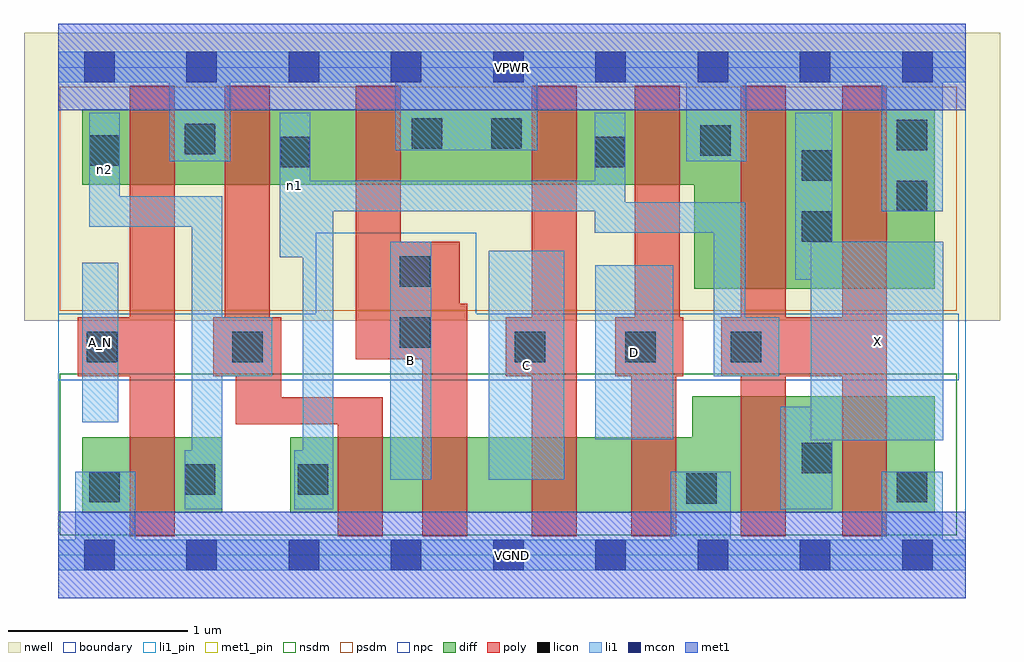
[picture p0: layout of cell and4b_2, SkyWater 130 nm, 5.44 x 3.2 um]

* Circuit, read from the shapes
.subckt and4b_2 A_N B C D VGND VPWR X n1 n2
XM1 n2 A_N VGND VSUBS sky130_fd_pr__nfet_01v8 w=0.42 l=0.25
XM2 n3 n2 n1 VSUBS sky130_fd_pr__nfet_01v8 w=0.42 l=0.25
XM3 n4 B n3 VSUBS sky130_fd_pr__nfet_01v8 w=0.42 l=0.25
XM4 n5 C n4 VSUBS sky130_fd_pr__nfet_01v8 w=0.42 l=0.25
XM5 VGND D n5 VSUBS sky130_fd_pr__nfet_01v8 w=0.42 l=0.25
XM6 X n1 VGND VSUBS sky130_fd_pr__nfet_01v8 w=0.65 l=0.25 m=2
XM7 VPWR A_N n2 n6 sky130_fd_pr__pfet_01v8 w=0.42 l=0.25
XM8 n1 n2 VPWR n6 sky130_fd_pr__pfet_01v8 w=0.42 l=0.25
XM9 VPWR B n1 n6 sky130_fd_pr__pfet_01v8 w=0.42 l=0.25
XM10 n1 C VPWR n6 sky130_fd_pr__pfet_01v8 w=0.42 l=0.25
XM11 VPWR D n1 n6 sky130_fd_pr__pfet_01v8 w=0.42 l=0.25
XM12 X n1 VPWR n6 sky130_fd_pr__pfet_01v8 w=1 l=0.25 m=2
.ends

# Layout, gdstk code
import gdstk
lib = gdstk.Library(unit=1e-6, precision=1e-09)
def R(c, l, rs):  # rectangles x0, y0, x1, y1
    for r in rs: c.add(gdstk.rectangle(r[:2], r[2:], *l))
def A(c, l, x, y, w, h, nx, ny, dx, dy):  # array of equal rectangles
    R(c, l, [(x+i*dx, y+j*dy, x+i*dx+w, y+j*dy+h) for i in range(nx) for j in range(ny)])
nwell = (64, 20)
diff = (65, 20)
poly = (66, 20)
licon = (66, 44)
li1_pin = (67, 16)
li1 = (67, 20)
mcon = (67, 44)
met1_pin = (68, 16)
met1 = (68, 20)
nsdm = (93, 44)
psdm = (94, 20)
npc = (95, 20)
boundary = (235, 4)

and4b_2 = lib.new_cell('and4b_2')
R(and4b_2, nwell, [(-0.19,1.305,5.25,2.91), (0,1.305,5.06,2.91)])
R(and4b_2, diff, [(0.135,0.235,0.915,0.655), (1.295,0.235,4.885,0.655), (3.535,0.235,4.885,0.885), (3.545,1.485,4.885,2.485), (0.135,2.065,4.885,2.485)])
R(and4b_2, poly, [(0.4,0.105,0.65,2.615), (1.56,0.105,1.81,0.88), (2.03,0.105,2.28,1.4), (2.64,0.105,2.89,2.615), (3.195,0.105,3.445,1.325), (3.805,0.105,4.055,2.615), (4.37,0.105,4.62,2.615), (0.99,0.73,1.81,0.88), (0.99,0.73,1.245,1.325), (0.11,0.995,0.65,1.325), (0.865,0.995,1.245,1.325), (0.93,0.995,1.18,2.615), (2.495,0.995,2.89,1.325), (3.105,0.995,3.485,1.325), (3.215,0.995,3.465,2.615), (3.695,0.995,4.62,1.325), (1.66,1.09,2.24,1.745), (1.66,1.09,1.91,2.615)])
R(and4b_2, licon, [(3.5,0.285,3.67,0.455), (0.175,0.295,0.345,0.465), (4.675,0.295,4.845,0.465), (0.705,0.335,0.875,0.505), (1.335,0.335,1.505,0.505), (4.145,0.455,4.315,0.625), (0.16,1.075,0.33,1.245), (0.97,1.075,1.14,1.245), (2.545,1.075,2.715,1.245), (3.16,1.075,3.33,1.245), (3.75,1.075,3.92,1.245), (1.905,1.155,2.075,1.325), (1.905,1.495,2.075,1.665), (4.145,1.745,4.315,1.915), (4.675,1.915,4.845,2.085), (4.145,2.085,4.315,2.255), (1.235,2.16,1.405,2.33), (2.99,2.16,3.16,2.33), (0.175,2.17,0.345,2.34), (3.58,2.225,3.75,2.395), (0.705,2.235,0.875,2.405), (4.675,2.255,4.845,2.425), (1.97,2.265,2.14,2.435), (2.415,2.265,2.585,2.435)])
R(and4b_2, li1_pin, [(1.85,0.42,2.08,1.745), (2.4,0.42,2.82,1.695), (4.195,0.64,4.935,1.745), (2.995,0.645,3.43,1.615), (0.135,0.74,0.335,1.63)])
R(and4b_2, li1, [(0,-0.085,5.06,0.085), (0.095,-0.085,0.43,0.465), (3.415,-0.085,3.75,0.465), (4.59,-0.085,4.93,0.465), (0.705,0.255,0.915,0.585), (0.745,0.255,0.915,2), (1.315,0.255,1.535,0.585), (1.365,0.255,1.535,2.085), (4.025,0.255,4.315,0.825), (1.85,0.42,2.08,1.745), (2.4,0.42,2.82,1.695), (4.195,0.64,4.935,1.745), (2.995,0.645,3.43,1.615), (0.135,0.74,0.335,1.63), (0.745,0.995,1.195,1.325), (3.655,0.995,3.83,1.965), (3.655,0.995,4.02,1.325), (4.11,1.535,4.315,2.465), (1.235,1.66,1.405,2.465), (2.99,1.795,3.83,1.965), (2.99,1.795,3.16,2.465), (0.175,1.83,0.345,2.465), (0.175,1.83,0.915,2), (1.235,1.915,3.16,2.085), (4.59,1.915,4.93,2.805), (0.62,2.195,0.96,2.805), (3.5,2.195,3.835,2.805), (1.88,2.255,2.67,2.805), (0,2.635,5.06,2.805)])
A(and4b_2, mcon, 0.145, -0.085, 0.17, 0.17, 9, 2, 0.57, 2.72)
R(and4b_2, met1_pin, [(0,-0.24,5.06,0.24), (0,2.48,5.06,2.96)])
R(and4b_2, met1, [(0,-0.24,5.06,0.24), (0,2.48,5.06,2.96)])
R(and4b_2, nsdm, [(0.01,0.11,5.01,1.01)])
R(and4b_2, psdm, [(0.01,1.36,5.01,2.61)])
R(and4b_2, npc, [(0,0.975,5.02,1.345), (1.435,0.975,2.33,1.795)])
R(and4b_2, boundary, [(0,0,5.06,2.72)])
and4b_2.add(gdstk.Label('A_N', (0.235,1.185), layer=67, texttype=5))
and4b_2.add(gdstk.Label('B', (1.965,1.082), layer=67, texttype=5))
and4b_2.add(gdstk.Label('C', (2.61,1.057), layer=67, texttype=5))
and4b_2.add(gdstk.Label('D', (3.212,1.13), layer=67, texttype=5))
and4b_2.add(gdstk.Label('X', (4.565,1.192), layer=67, texttype=5))
and4b_2.add(gdstk.Label('n2', (0.26,2.147), layer=67, texttype=5))
and4b_2.add(gdstk.Label('n1', (1.32,2.062), layer=67, texttype=5))
and4b_2.add(gdstk.Label('VPWR', (2.53,2.72), layer=68, texttype=5))
and4b_2.add(gdstk.Label('VGND', (2.53,0), layer=68, texttype=5))
and4b_2.add(gdstk.Label('A_N', (0.235,1.185), layer=67, texttype=16))
and4b_2.add(gdstk.Label('B', (1.965,1.082), layer=67, texttype=16))
and4b_2.add(gdstk.Label('C', (2.61,1.057), layer=67, texttype=16))
and4b_2.add(gdstk.Label('D', (3.212,1.13), layer=67, texttype=16))
and4b_2.add(gdstk.Label('X', (4.565,1.192), layer=67, texttype=16))
and4b_2.add(gdstk.Label('VPWR', (2.53,2.72), layer=68, texttype=16))
and4b_2.add(gdstk.Label('VGND', (2.53,0), layer=68, texttype=16))

lib.write_gds('and4b_2.gds')
